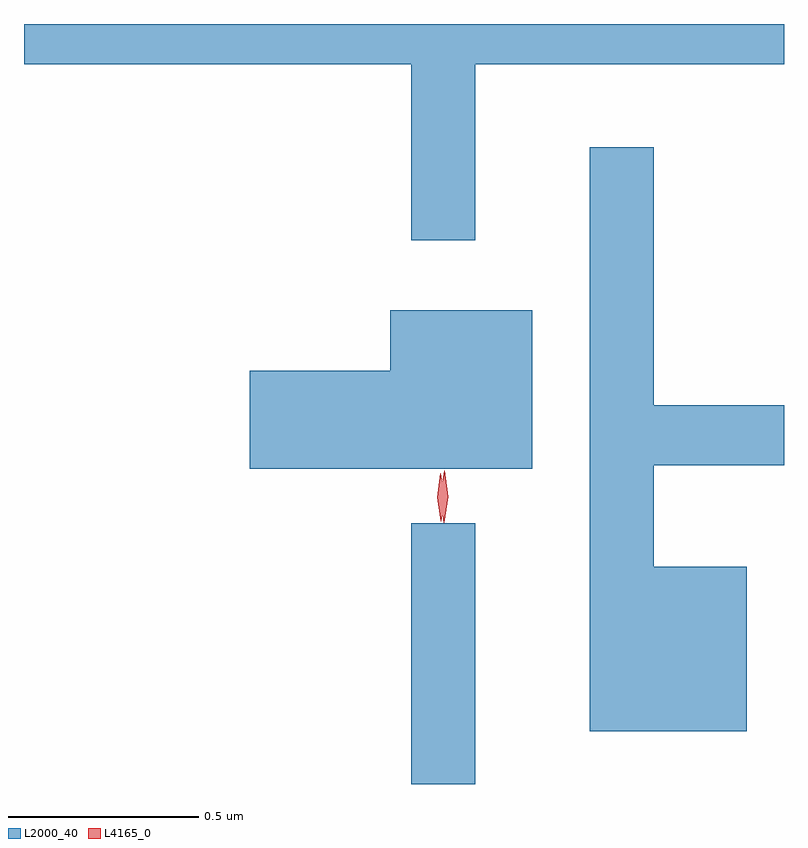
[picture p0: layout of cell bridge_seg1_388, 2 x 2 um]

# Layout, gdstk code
import gdstk
lib = gdstk.Library(unit=1e-6, precision=1e-09)
def R(c, l, rs):  # rectangles x0, y0, x1, y1
    for r in rs: c.add(gdstk.rectangle(r[:2], r[2:], *l))
def P(c, l, *ps):  # polygons
    for p in ps: c.add(gdstk.Polygon(p, *l))
L2000_40 = (2000, 40)
L4165_0 = (4165, 0)

bridge_seg1_388 = lib.new_cell('bridge_seg1_388')
R(bridge_seg1_388, L2000_40, [(838.431,839.962,838.599,840.648)])
P(bridge_seg1_388, L2000_40, [(838.599,841.856),(839.412,841.856),(839.412,841.962),(837.412,841.962),(837.412,841.856),(838.431,841.856),(838.431,841.393),(838.599,841.393)],
  [(839.314,840.534),(839.069,840.534),(839.069,840.801),(839.412,840.801),(839.412,840.959),(839.069,840.959),(839.069,841.638),(838.901,841.638),(838.901,840.101),(839.314,840.101)],
  [(838.749,841.209),(838.376,841.209),(838.376,841.049),(838.006,841.049),(838.006,840.791),(838.749,840.791)])
P(bridge_seg1_388, L4165_0, [(838.517,840.65),(838.517,840.65),(838.508,840.718),(838.518,840.786),(838.519,840.786),(838.519,840.786),(838.528,840.718),(838.518,840.65)],
  [(838.509,840.653),(838.509,840.653),(838.499,840.716),(838.508,840.779),(838.509,840.78),(838.509,840.779),(838.519,840.716),(838.51,840.653)])

lib.write_gds('bridge_seg1_388.gds')
